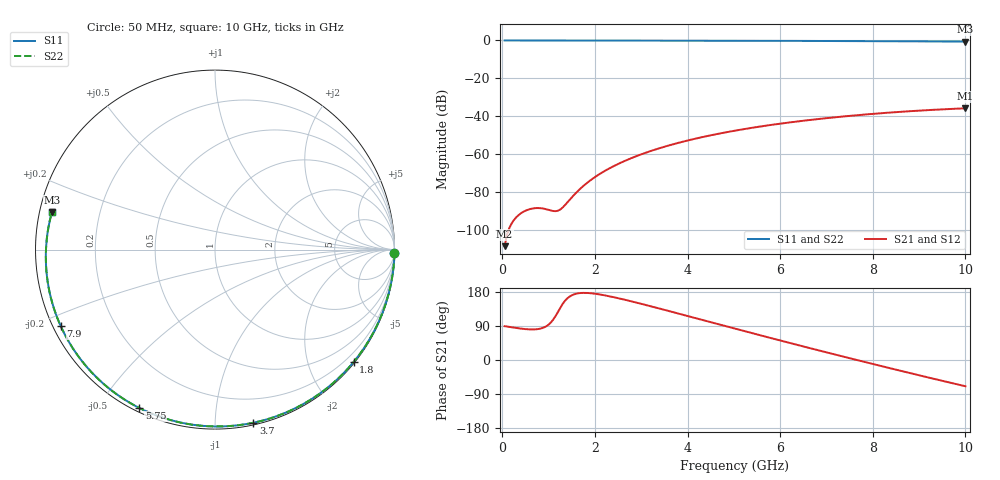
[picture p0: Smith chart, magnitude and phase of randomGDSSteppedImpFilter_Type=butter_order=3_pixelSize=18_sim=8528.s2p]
! freq	dB(S11)	phase(S11)	dB(S12)	phase(S12)
!  dB(S21)	phase(S21)	dB(S22)	phase(S22)
!S-par simulation data
#  GHz  S  DB  R 50
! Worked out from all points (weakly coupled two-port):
!   200 points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, 50 MHz to 10 GHz, reference 50 ohm
!   highest |S21| = -35.77 dB at 10 GHz (marker M1); lowest = -108.4 dB at 50 MHz (marker M2)
!   lowest |S11| = -0.6 dB at 10 GHz (marker M3), VSWR 28.51, Z = 1.78 + j5.69 ohm
!   |S11| at or under -10 dB: nowhere
!   |S22| runs from -0.6 to 0.0 dB; largest |S21 - S12| = 0
!   S11 on the Smith chart (normalised r, x): 50 MHz: open; 1.8 GHz: 0.03, -2.82; 3.7 GHz: 0.02, -1.25; 5.75 GHz: 0.02, -0.63; 7.9 GHz: 0.02, -0.23; 10 GHz: 0.04, +0.11
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0.05  -0.00 -1.1  -108.43 89.2  -108.43 89.2  -0.00 -1.1
0.4  -0.01 -8.8  -91.14 82.9  -91.14 82.9  -0.01 -8.8
0.8  -0.02 -17.6  -88.36 82.3  -88.36 82.3  -0.02 -17.6
1.2  -0.03 -26.3  -89.77 126.5  -89.77 126.5  -0.03 -26.3
1.6  -0.04 -34.8  -80.12 175.0  -80.12 175.0  -0.04 -34.8
1.75  -0.05 -38.0  -76.69 177.1  -76.69 177.1  -0.05 -38.0
1.8  -0.05 -39.0  -75.66 177.1  -75.66 177.1  -0.05 -39.0
2.1  -0.06 -45.3  -70.43 173.1  -70.43 173.1  -0.06 -45.3
2.45  -0.07 -52.6  -65.70 164.6  -65.70 164.6  -0.07 -52.6
2.9  -0.08 -61.7  -60.94 151.4  -60.94 151.4  -0.08 -61.7
3.4  -0.09 -71.7  -56.76 135.6  -56.76 135.6  -0.09 -71.7
3.7  -0.10 -77.5  -54.64 125.9  -54.64 125.9  -0.10 -77.5
4.35  -0.13 -89.9  -50.77 104.8  -50.77 104.8  -0.13 -89.9
5.05  -0.16 -102.9  -47.43 82.0  -47.43 82.0  -0.16 -102.9
5.75  -0.19 -115.5  -44.71 59.5  -44.71 59.5  -0.19 -115.5
6.7  -0.26 -132.3  -41.75 29.5  -41.75 29.5  -0.26 -132.4
7.3  -0.30 -142.9  -40.22 10.9  -40.22 10.9  -0.30 -142.9
7.9  -0.36 -153.5  -38.90 -7.4  -38.90 -7.4  -0.36 -153.5
8.35  -0.41 -161.6  -38.04 -21.0  -38.04 -21.0  -0.41 -161.6
9.2  -0.50 -177.4  -36.71 -46.2  -36.71 -46.2  -0.50 -177.4
9.6  -0.56 174.9  -36.20 -57.8  -36.20 -57.8  -0.56 174.9
10  -0.61 167.0  -35.77 -69.3  -35.77 -69.3  -0.61 167.0
